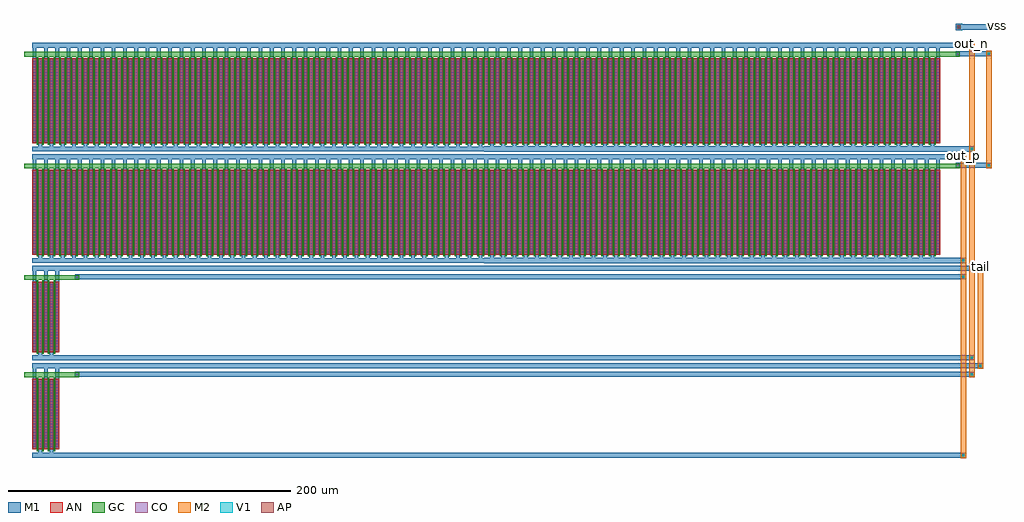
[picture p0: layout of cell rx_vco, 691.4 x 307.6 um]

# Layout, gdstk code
import gdstk
lib = gdstk.Library(unit=1e-6, precision=1e-09)
def R(c, l, rs):  # rectangles x0, y0, x1, y1
    for r in rs: c.add(gdstk.rectangle(r[:2], r[2:], *l))
def A(c, l, x, y, w, h, nx, ny, dx, dy):  # array of equal rectangles
    R(c, l, [(x+i*dx, y+j*dy, x+i*dx+w, y+j*dy+h) for i in range(nx) for j in range(ny)])
AP = (3, 1)
AN = (3, 2)
GC = (8, 1)
CO = (11, 0)
M1 = (13, 0)
V1 = (19, 0)
M2 = (20, 0)

rx_vco = lib.new_cell('rx_vco')
R(rx_vco, AP, [(658,298,660.6,300.6)])
R(rx_vco, AN, [(3,0,22,50), (3,69,22,119), (3,138,646,198), (3,217,646,277)])
A(rx_vco, GC, 6, -1.2, 1, 52.4, 4, 2, 4, 69)
A(rx_vco, GC, 6, 136.8, 1, 62.4, 160, 2, 4, 79)
R(rx_vco, GC, [(-3,51.2,36,54.6), (-3,120.2,36,123.6), (-3,199.2,660,202.6), (-3,278.2,660,281.6)])
A(rx_vco, CO, 4, 1.5, 1, 1, 5, 24, 4, 2)
A(rx_vco, CO, 4, 70.5, 1, 1, 5, 24, 4, 2)
A(rx_vco, CO, 4, 139.5, 1, 1, 161, 29, 4, 2)
A(rx_vco, CO, 4, 218.5, 1, 1, 161, 29, 4, 2)
R(rx_vco, CO, [(34,52.8,35,53.8), (34,121.8,35,122.8), (658,200.8,659,201.8), (658,279.8,659,280.8), (658.8,298.8,659.8,299.8)])
A(rx_vco, M1, 3.2, 0.2, 2.6, 58.3, 3, 2, 8, 69)
A(rx_vco, M1, 7.2, 132.2, 2.6, 65.6, 80, 2, 8, 79)
A(rx_vco, M1, 3.2, 138.2, 2.6, 68.3, 81, 2, 8, 79)
R(rx_vco, M1, [(11.2,-5.9,664.4,-2.3), (3,-5.8,22,-2.4), (7.2,-5.8,9.8,49.8), (15.2,-5.8,17.8,49.8), (33.2,51.5,670.4,55.1), (33,52,36,54.6), (11.2,57.5,676.4,61.1), (3,57.6,22,61), (11.2,63.1,670.4,66.7), (3,63.2,22,66.6), (7.2,63.2,9.8,118.8), (15.2,63.2,17.8,118.8), (33.2,120.5,664.4,124.1), (33,121,36,123.6), (11.2,126.5,676.4,130.1), (3,126.6,22,130), (323.2,132.1,664.4,135.7), (3,132.2,646,135.6), (657.2,199.5,682.4,203.1), (657,200,660,202.6), (323.2,205.5,664.4,209.1), (3,205.6,646,209), (323.2,211.1,670.4,214.7), (3,211.2,646,214.6), (657.2,278.5,682.4,282.1), (657,279,660,281.6), (323.2,284.5,670.4,288.1), (3,284.6,646,288), (657.1,297.1,661.5,301.5), (658,297.5,688.4,301.1)])
R(rx_vco, V1, [(661.8,-4.8,663.2,-3.4), (667.8,52.6,669.2,54), (673.8,58.6,675.2,60), (667.8,64.2,669.2,65.6), (661.8,121.6,663.2,123), (673.8,127.6,675.2,129), (661.8,133.2,663.2,134.6), (679.8,200.6,681.2,202), (661.8,206.6,663.2,208), (667.8,212.2,669.2,213.6), (679.8,279.6,681.2,281), (667.8,285.6,669.2,287), (685.8,298.6,687.2,300)])
R(rx_vco, M2, [(660.6,-6.1,664.4,209.3), (666.6,51.3,670.4,288.3), (672.6,57.3,676.4,130.3), (678.6,199.3,682.4,282.3), (684.6,297.3,688.4,301.3)])
rx_vco.add(gdstk.Label('out_p', (662.5,208.3), layer=49, texttype=0))
rx_vco.add(gdstk.Label('out_n', (668.5,287.3), layer=49, texttype=0))
rx_vco.add(gdstk.Label('vtune', (680.5,281.3), layer=49, texttype=0))
rx_vco.add(gdstk.Label('tail', (674.5,129.3), layer=49, texttype=0))
rx_vco.add(gdstk.Label('vss', (686.5,300.3), layer=49, texttype=0))

lib.write_gds('rx_vco.gds')
